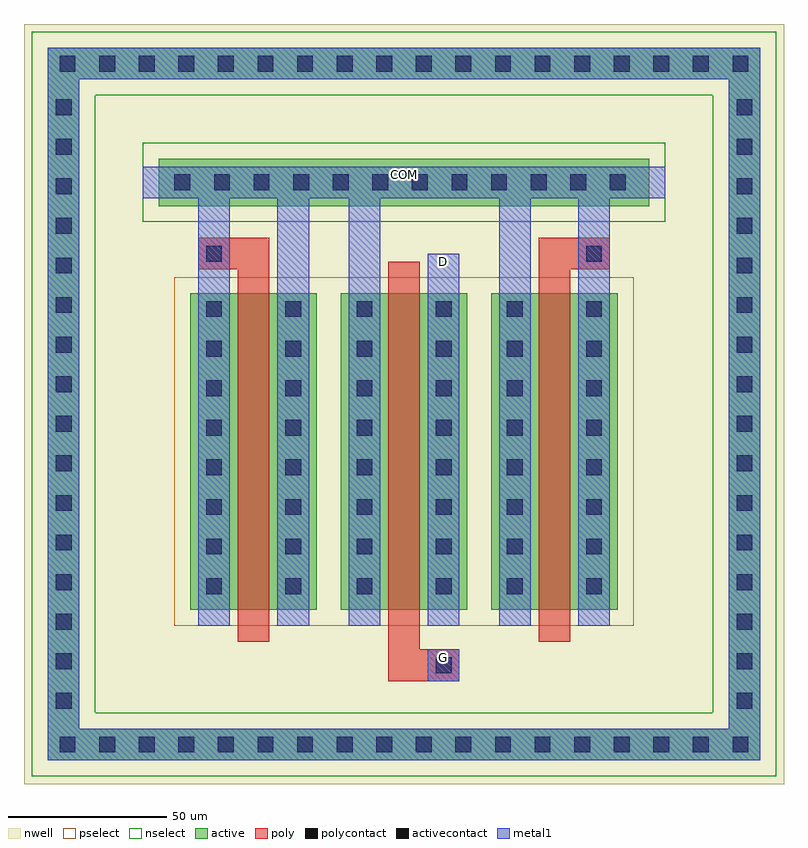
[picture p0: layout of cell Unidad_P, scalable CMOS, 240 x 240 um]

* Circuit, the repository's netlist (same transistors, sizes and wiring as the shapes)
* Extracted by KLayout (CIDESI_CM05, LNunT, CIDESI)

.SUBCKT Unidad_P G D COM
M$1 COM COM COM COM CIDPMOS L=10U W=100U AS=1500P AD=1500P PS=230U PD=230U
M$2 D G COM COM CIDPMOS L=10U W=100U AS=1500P AD=1500P PS=230U PD=230U
M$3 COM COM COM COM CIDPMOS L=10U W=100U AS=1500P AD=1500P PS=230U PD=230U
.ENDS Unidad_P

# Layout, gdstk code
import gdstk
lib = gdstk.Library(unit=1e-6, precision=1e-09)
def R(c, l, rs):  # rectangles x0, y0, x1, y1
    for r in rs: c.add(gdstk.rectangle(r[:2], r[2:], *l))
def A(c, l, x, y, w, h, nx, ny, dx, dy):  # array of equal rectangles
    R(c, l, [(x+i*dx, y+j*dy, x+i*dx+w, y+j*dy+h) for i in range(nx) for j in range(ny)])
nwell = (42, 0)
active = (43, 0)
pselect = (44, 0)
nselect = (45, 0)
poly = (46, 0)
polycontact = (47, 0)
activecontact = (48, 0)
metal1 = (49, 0)

guardring_1 = lib.new_cell('GuardRing$1')
R(guardring_1, nwell, [(-7.5,-7.5,232.5,232.5)])
R(guardring_1, active, [(0,0,225,10), (0,10,10,215), (215,10,225,215), (0,215,225,225)])
R(guardring_1, nselect, [(-5,-5,230,15), (-5,5,15,220), (210,5,230,220), (-5,210,230,230)])
A(guardring_1, activecontact, 3.75, 2.5, 5, 5, 18, 2, 12.5, 215)
A(guardring_1, activecontact, 2.5, 16.25, 5, 5, 1, 16, 0, 12.5)
A(guardring_1, activecontact, 217.5, 16.25, 5, 5, 1, 16, 0, 12.5)
R(guardring_1, metal1, [(0,0,225,10), (0,10,10,215), (215,10,225,215), (0,215,225,225)])
guardring_1.add(gdstk.Label('GNDb\n\x02', (0.113,0.005), layer=49, texttype=1))

unidad_p = lib.new_cell('Unidad_P')
R(unidad_p, nwell, [(27.5,35,207.5,207.5)])
A(unidad_p, active, 50, 52.5, 40, 100, 3, 1, 47.5, 0)
R(unidad_p, active, [(40,180,195,195)])
R(unidad_p, pselect, [(45,47.5,190,157.5)])
R(unidad_p, nselect, [(35,175,200,200)])
A(unidad_p, poly, 65, 42.5, 10, 120, 3, 1, 47.5, 0)
R(unidad_p, poly, [(112.5,30,135,40), (112.5,30,122.5,47.5), (52.5,160,75,170), (160,160,182.5,170)])
R(unidad_p, polycontact, [(127.5,32.5,132.5,37.5), (55,162.5,60,167.5), (175,162.5,180,167.5)])
A(unidad_p, activecontact, 55, 57.5, 5, 5, 1, 8, 0, 12.5)
A(unidad_p, activecontact, 80, 57.5, 5, 5, 1, 8, 0, 12.5)
A(unidad_p, activecontact, 102.5, 57.5, 5, 5, 1, 8, 0, 12.5)
A(unidad_p, activecontact, 127.5, 57.5, 5, 5, 1, 8, 0, 12.5)
A(unidad_p, activecontact, 150, 57.5, 5, 5, 1, 8, 0, 12.5)
A(unidad_p, activecontact, 175, 57.5, 5, 5, 1, 8, 0, 12.5)
A(unidad_p, activecontact, 45, 185, 5, 5, 12, 1, 12.5, 0)
R(unidad_p, metal1, [(125,30,135,40), (52.5,47.5,62.5,192.5), (77.5,47.5,87.5,192.5), (100,47.5,110,192.5), (125,47.5,135,165), (147.5,47.5,157.5,192.5), (172.5,47.5,182.5,192.5), (35,182.5,200,192.5)])
r = gdstk.Reference(guardring_1, (5,5)); r.repetition = gdstk.Repetition(1, 1, v1=(0,0), v2=(0,0)); unidad_p.add(r)
unidad_p.add(gdstk.Label('D', (130,162.5), layer=49, texttype=1))
unidad_p.add(gdstk.Label('G', (130,37.5), layer=49, texttype=1))
unidad_p.add(gdstk.Label('COM', (117.5,190), layer=49, texttype=1))

lib.write_gds('Unidad_P.gds')
